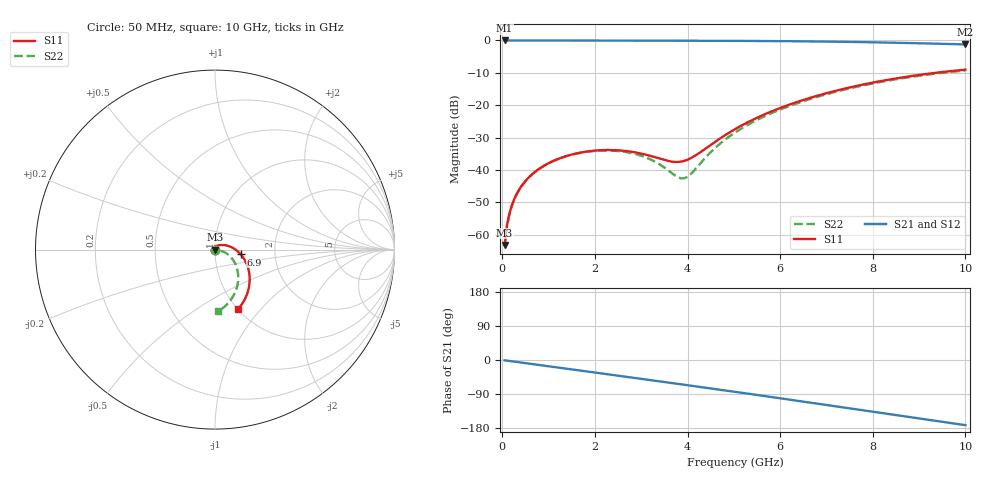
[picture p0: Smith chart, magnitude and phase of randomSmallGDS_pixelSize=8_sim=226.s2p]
! freq	dB(S11)	phase(S11)	dB(S12)	phase(S12)
!  dB(S21)	phase(S21)	dB(S22)	phase(S22)
!S-par simulation data
#  GHz  S  DB  R 50
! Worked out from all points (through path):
!   200 points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, 50 MHz to 10 GHz, reference 50 ohm
!   highest |S21| = 0.00 dB at 50 MHz (marker M1); lowest = -1.2 dB at 10 GHz (marker M2)
!   group delay of S21, straight-line fit = 47.9 ps
!   lowest |S11| = -63.2 dB at 50 MHz (marker M3), VSWR 1.00, Z = 50 - j0.0691 ohm
!   |S11| at or under -10 dB: start of sweep to 9.357 GHz
!   |S22| runs from -63.5 to -9.3 dB; largest |S21 - S12| = 0
!   S11 on the Smith chart (normalised r, x): 50 MHz: 1.00, -0.00; 6.9 GHz: 1.33, -0.07; 10 GHz: 1.01, -0.76
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0.05  -63.20 -88.8  -0.00 -0.8  -0.00 -0.8  -63.54 -88.7
0.1  -57.20 -91.0  -0.00 -1.7  -0.00 -1.7  -57.50 -91.0
0.2  -51.20 -93.8  -0.00 -3.3  -0.00 -3.3  -51.42 -93.3
0.35  -46.40 -97.3  -0.00 -5.8  -0.00 -5.8  -46.54 -95.8
0.5  -43.40 -100.7  -0.01 -8.3  -0.01 -8.3  -43.49 -98.0
0.7  -40.65 -105.0  -0.01 -11.6  -0.01 -11.6  -40.71 -100.9
1  -37.90 -111.5  -0.02 -16.6  -0.02 -16.6  -37.94 -105.3
1.75  -34.49 -128.5  -0.03 -28.9  -0.03 -28.9  -34.55 -115.5
2.65  -34.11 -153.7  -0.05 -43.9  -0.05 -43.9  -34.44 -124.6
3.05  -35.11 -170.0  -0.06 -50.5  -0.06 -50.5  -35.87 -125.3
3.4  -36.51 168.7  -0.06 -56.4  -0.06 -56.4  -38.30 -119.9
3.8  -37.52 129.7  -0.07 -63.1  -0.07 -63.1  -42.29 -88.9
3.95  -37.10 112.1  -0.08 -65.6  -0.08 -65.6  -42.47 -64.6
4.1  -36.13 95.4  -0.08 -68.2  -0.08 -68.2  -40.85 -42.2
4.6  -31.26 56.3  -0.10 -76.7  -0.10 -76.7  -33.16 -14.7
5.05  -27.20 36.3  -0.13 -84.4  -0.13 -84.4  -28.21 -13.0
5.8  -22.00 14.1  -0.19 -97.5  -0.19 -97.5  -22.54 -19.9
6.7  -17.50 -6.5  -0.30 -113.4  -0.30 -113.4  -17.86 -32.6
6.9  -16.68 -10.7  -0.33 -116.9  -0.33 -116.9  -17.02 -35.7
8.35  -12.10 -39.0  -0.67 -142.8  -0.67 -142.8  -12.36 -59.4
9.15  -10.37 -53.6  -0.92 -157.0  -0.92 -157.0  -10.62 -72.9
10  -9.02 -68.3  -1.22 -171.9  -1.22 -171.9  -9.26 -87.2
